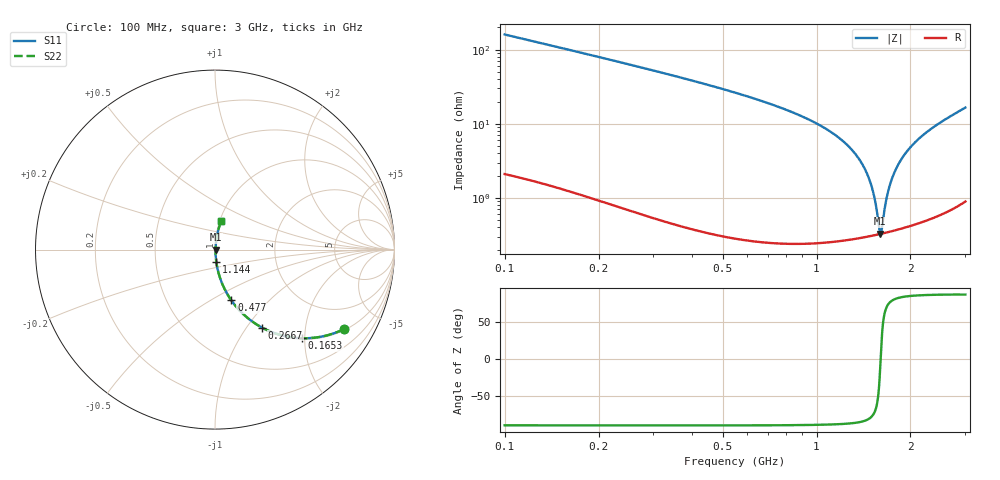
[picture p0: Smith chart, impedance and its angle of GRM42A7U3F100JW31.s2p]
!Murata Part Number: GRM42A7U3F100JW31
!These Parameters are Measured in Series Mode Connection
!Data Generated on Mar 30, 2021
!  o--ll--o
!Port1  Port2
!  o------o
!Operation Temp=25[degC], DC Bias Voltage=0[V]
!Freq. Start=100[MHz] Stop=3[GHz] 401[Steps]
# Hz S RI R 50
!Freq.(Hz) S11(Real) S11(Imag) S21(Real) S21(Imag) S12(Real) S12(Imag) S22(Real) S22(Imag)
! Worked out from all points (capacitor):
!   401 points, 100 MHz to 3 GHz, reference 50 ohm
!   read as one part in series: C = 9.82 pF near 114.5 MHz
!   lowest |Z| = 331 mohm at 1.601 GHz (marker M1)
!   series resonance near 1.605 GHz, so ESL is about 1 nH
!   S11 on the Smith chart (normalised r, x): 100 MHz: 1.04, -3.21; 165.2 MHz: 1.02, -1.94; 266.8 MHz: 1.01, -1.19; 477 MHz: 1.01, -0.62; 1.144 GHz: 1.01, -0.14; 3 GHz: 1.02, +0.33
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1e8  0.7179 -0.4435  0.2821 0.4435  0.2821 0.4435  0.7179 -0.4435
1.6525e8  0.4852 -0.4937  0.5148 0.4937  0.5148 0.4937  0.4852 -0.4937
2.6675e8  0.2625 -0.4348  0.7375 0.4348  0.7375 0.4348  0.2625 -0.4348
3.61e8  0.1578 -0.3597  0.8422 0.3597  0.8422 0.3597  0.1578 -0.3597
4.77e8  0.0912 -0.2829  0.9088 0.2829  0.9088 0.2829  0.0912 -0.2829
5.8575e8  0.0577 -0.2277  0.9423 0.2277  0.9423 0.2277  0.0577 -0.2277
1.0715e9  0.00973 -0.0847  0.9903 0.0847  0.9903 0.0847  0.00973 -0.0847
1.144e9  0.0076 -0.0707  0.9924 0.0707  0.9924 0.0707  0.0076 -0.0707
1.29625e9  0.00474 -0.0445  0.9953 0.0445  0.9953 0.0445  0.00474 -0.0445
1.41225e9  0.00364 -0.0266  0.9964 0.0266  0.9964 0.0266  0.00364 -0.0266
1.492e9  0.00329 -0.0152  0.9967 0.0152  0.9967 0.0152  0.00329 -0.0152
1.55e9  0.00321 -0.00726  0.9968 0.00726  0.9968 0.00726  0.00321 -0.00726
1.58625e9  0.00324 -0.00242  0.9968 0.00242  0.9968 0.00242  0.00324 -0.00242
1.60075e9  0.00326 -0.000512  0.9967 0.000512  0.9967 0.000512  0.00326 -0.000512
1.61525e9  0.00329 0.00138  0.9967 -0.00138  0.9967 -0.00138  0.00329 0.00138
1.65875e9  0.00342 0.00699  0.9966 -0.00699  0.9966 -0.00699  0.00342 0.00699
1.68775e9  0.00355 0.0107  0.9965 -0.0107  0.9965 -0.0107  0.00355 0.0107
1.76025e9  0.00398 0.0196  0.996 -0.0196  0.996 -0.0196  0.00398 0.0196
1.87625e9  0.00498 0.0335  0.995 -0.0335  0.995 -0.0335  0.00498 0.0335
2.03575e9  0.00697 0.0518  0.993 -0.0518  0.993 -0.0518  0.00697 0.0518
2.5215e9  0.0171 0.1048  0.9829 -0.1048  0.9829 -0.1048  0.0171 0.1048
3e9  0.0348 0.1582  0.9652 -0.1582  0.9652 -0.1582  0.0348 0.1582
